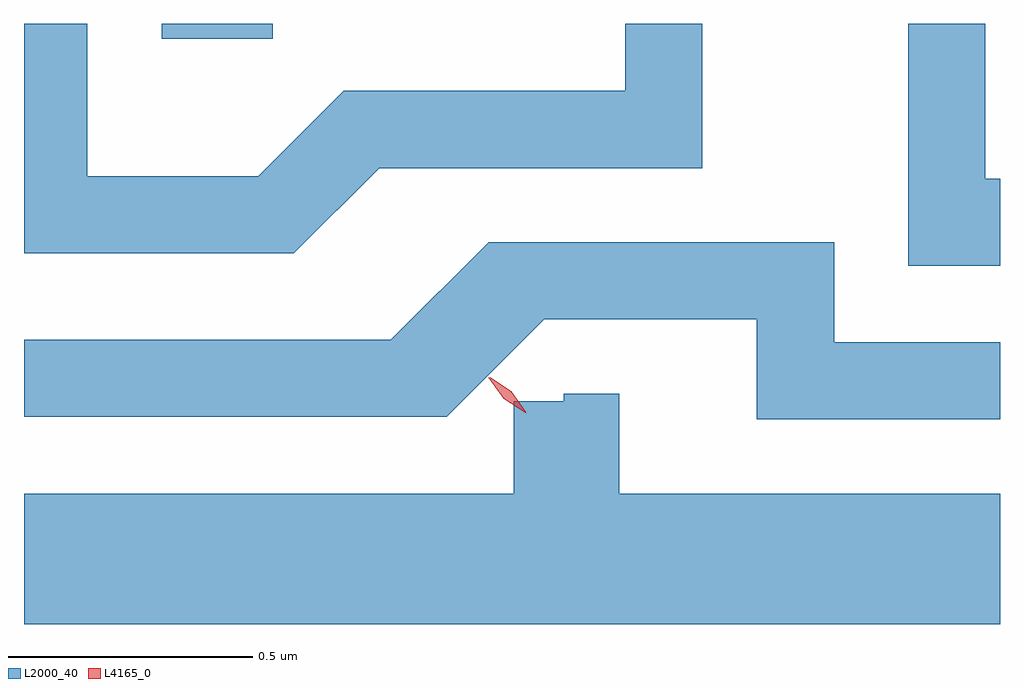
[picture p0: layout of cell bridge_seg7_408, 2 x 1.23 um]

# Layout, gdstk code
import gdstk
lib = gdstk.Library(unit=1e-6, precision=1e-09)
def R(c, l, rs):  # rectangles x0, y0, x1, y1
    for r in rs: c.add(gdstk.rectangle(r[:2], r[2:], *l))
def P(c, l, *ps):  # polygons
    for p in ps: c.add(gdstk.Polygon(p, *l))
L2000_40 = (2000, 40)
L4165_0 = (4165, 0)

bridge_seg7_408 = lib.new_cell('bridge_seg7_408')
R(bridge_seg7_408, L2000_40, [(1102.831,1748.816,1103.059,1748.847)])
P(bridge_seg7_408, L2000_40, [(1104.549,1748.529),(1104.519,1748.529),(1104.519,1748.847),(1104.361,1748.847),(1104.361,1748.351),(1104.549,1748.351)],
  [(1103.277,1748.551),(1103.939,1748.551),(1103.939,1748.847),(1103.781,1748.847),(1103.781,1748.709),(1103.204,1748.709),(1103.029,1748.534),(1102.679,1748.534),(1102.679,1748.847),(1102.549,1748.847),(1102.549,1748.376),(1103.102,1748.376)],
  [(1104.549,1748.194),(1104.209,1748.194),(1104.209,1748.399),(1103.501,1748.399),(1103.301,1748.199),(1102.549,1748.199),(1102.549,1748.041),(1103.415,1748.041),(1103.615,1748.241),(1104.051,1748.241),(1104.051,1748.036),(1104.549,1748.036)],
  [(1104.549,1747.884),(1103.769,1747.884),(1103.769,1748.089),(1103.655,1748.089),(1103.655,1748.073),(1103.553,1748.073),(1103.553,1747.884),(1102.549,1747.884),(1102.549,1747.616),(1104.549,1747.616)])
P(bridge_seg7_408, L4165_0, [(1103.578,1748.049),(1103.532,1748.078),(1103.5,1748.122),(1103.5,1748.122),(1103.5,1748.122),(1103.546,1748.093),(1103.578,1748.049),(1103.578,1748.049)],
  [(1103.576,1748.051),(1103.533,1748.08),(1103.503,1748.122),(1103.503,1748.122),(1103.504,1748.122),(1103.547,1748.094),(1103.577,1748.052),(1103.577,1748.051)])

lib.write_gds('bridge_seg7_408.gds')
